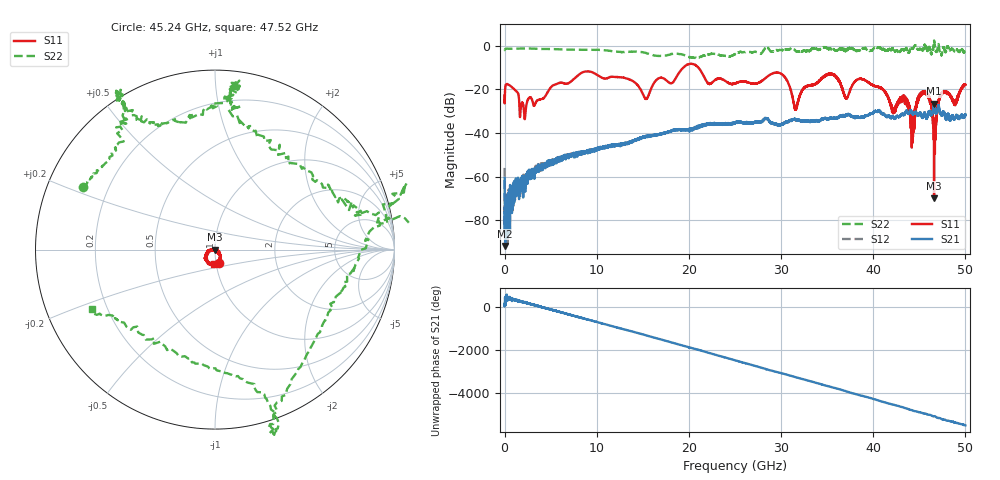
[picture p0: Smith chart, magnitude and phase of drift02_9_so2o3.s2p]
!Created with skrf (http://scikit-rf.org).
# Hz S RI R 50.0
!freq ReS11 ImS11 ReS21 ImS21 ReS12 ImS12 ReS22 ImS22
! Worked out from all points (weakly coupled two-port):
!   10001 points, 300 kHz to 50 GHz, reference 50 ohm
!   highest |S21| = -26.60 dB at 46.61 GHz (marker M1); lowest = -91.8 dB at 60.3 MHz (marker M2)
!   lowest |S11| = -69.9 dB at 46.6 GHz (marker M3), VSWR 1.00, Z = 50 + j0.00419 ohm
!   |S11| at or under -10 dB: start of sweep to 19.41 GHz; 21 GHz to end of sweep
!   |S22| runs from -5.7 to 2.3 dB; largest |S21 - S12| = 0.0034
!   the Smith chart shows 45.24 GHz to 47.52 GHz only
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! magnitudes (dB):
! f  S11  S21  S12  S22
! 300 kHz  -22.9  -60.6  -56.0  -2.1
! 60.3 MHz  -19.6  -91.8  -81.7  -1.6
! 255.3 MHz  -17.6  -72.6  -71.5  -1.4
! 2.19 GHz  -33.7  -60.8  -62.2  -1.3
! 8.335 GHz  -12.5  -49.1  -49.3  -1.9
! 15.34 GHz  -24.4  -41.8  -41.7  -3.4
! 16.67 GHz  -15.1  -40.8  -40.7  -4.7
! 20.29 GHz  -8.3  -38.0  -38.3  -5.5
! 25 GHz  -17.4  -35.6  -35.5  -3.9
! 29.85 GHz  -12.6  -36.2  -36.7  -2.0
! 31.59 GHz  -29.0  -33.8  -33.9  -2.4
! 33.34 GHz  -18.1  -34.6  -34.5  -1.6
! 35.59 GHz  -13.4  -33.2  -33.3  -1.6
! 37.1 GHz  -24.2  -31.6  -31.6  -2.4
! 38.76 GHz  -15.3  -32.7  -32.7  -1.1
! 41.67 GHz  -24.3  -32.1  -32.4  -1.9
! 44.26 GHz  -44.6  -31.2  -31.3  -1.5
! 45.7 GHz  -21.9  -32.6  -32.6  -0.8
! 46.6 GHz  -69.9  -26.9  -26.8  1.9
! 46.61 GHz  -44.6  -26.6  -26.6  2.3
! 47.47 GHz  -21.8  -32.1  -31.8  -3.4
! 50 GHz  -18.0  -31.5  -31.3  -2.6
